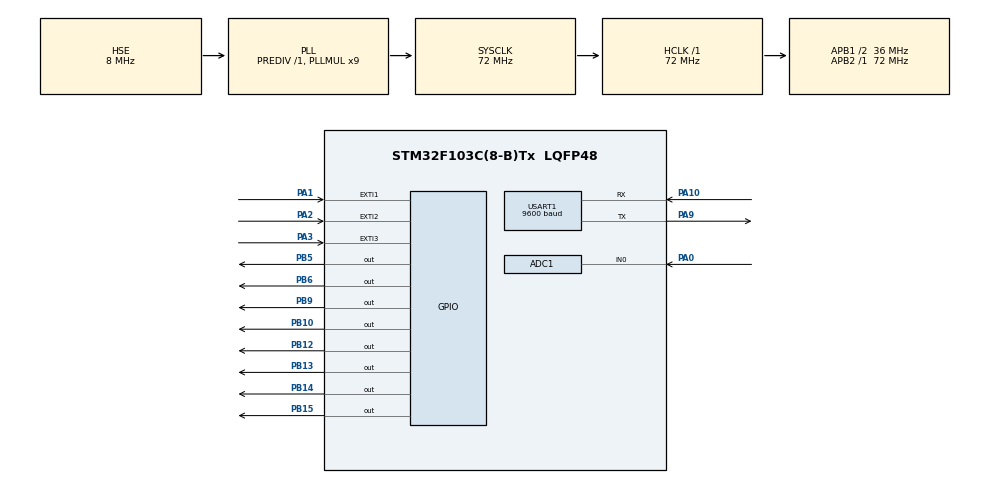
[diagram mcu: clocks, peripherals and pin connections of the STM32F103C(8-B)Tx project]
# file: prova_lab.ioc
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ADC1.Channel-0\#ChannelRegularConversion=ADC_CHANNEL_0
ADC1.NbrOfConversionFlag=1
ADC1.Rank-0\#ChannelRegularConversion=1
ADC1.SamplingTime-0\#ChannelRegularConversion=ADC_SAMPLETIME_1CYCLE_5
ADC1.master=1
Mcu.Family=STM32F1
Mcu.Name=STM32F103C(8-B)Tx
Mcu.Package=LQFP48
NVIC.ADC1_2_IRQn=true\:0\:0\:false\:true\:true\:2\:true\:true
NVIC.EXTI1_IRQn=true\:0\:0\:false\:true\:true\:1\:true\:true
NVIC.EXTI2_IRQn=true\:0\:0\:false\:true\:true\:4\:true\:true
NVIC.EXTI3_IRQn=true\:0\:0\:false\:true\:true\:5\:true\:true
NVIC.PriorityGroup=NVIC_PRIORITYGROUP_4
NVIC.USART1_IRQn=true\:0\:0\:false\:true\:true\:3\:true\:true
PA0-WKUP.Signal=ADCx_IN0
PA1.GPIO_ModeDefaultEXTI=GPIO_MODE_IT_FALLING
PA1.Signal=GPXTI1
PA10.Mode=Asynchronous
PA10.Signal=USART1_RX
PA13.Mode=Serial_Wire
PA13.Signal=SYS_JTMS-SWDIO
PA14.Mode=Serial_Wire
PA14.Signal=SYS_JTCK-SWCLK
PA2.GPIO_ModeDefaultEXTI=GPIO_MODE_IT_FALLING
PA2.Signal=GPXTI2
PA3.GPIO_ModeDefaultEXTI=GPIO_MODE_IT_FALLING
PA3.Signal=GPXTI3
PA9.Mode=Asynchronous
PA9.Signal=USART1_TX
PB10.Signal=GPIO_Output
PB12.Signal=GPIO_Output
PB13.Signal=GPIO_Output
PB14.Signal=GPIO_Output
PB15.Signal=GPIO_Output
PB5.Signal=GPIO_Output
PB6.Signal=GPIO_Output
PB9.Signal=GPIO_Output
PD0-OSC_IN.Mode=HSE-External-Oscillator
PD0-OSC_IN.Signal=RCC_OSC_IN
PD1-OSC_OUT.Mode=HSE-External-Oscillator
PD1-OSC_OUT.Signal=RCC_OSC_OUT
ProjectManager.HeapSize=0x200
ProjectManager.StackSize=0x400
ProjectManager.TargetToolchain=TrueSTUDIO
RCC.ADCPresc=RCC_ADCPCLK2_DIV6
RCC.AHBFreq_Value=72000000
RCC.APB1CLKDivider=RCC_HCLK_DIV2
RCC.APB1Freq_Value=36000000
RCC.APB1TimFreq_Value=72000000
RCC.APB2Freq_Value=72000000
RCC.APB2TimFreq_Value=72000000
RCC.HCLKFreq_Value=72000000
RCC.PLLMUL=RCC_PLL_MUL9
RCC.PLLSourceVirtual=RCC_PLLSOURCE_HSE
RCC.SYSCLKFreq_VALUE=72000000
RCC.SYSCLKSource=RCC_SYSCLKSOURCE_PLLCLK
RCC.USBFreq_Value=72000000
SH.ADCx_IN0.0=ADC1_IN0,IN0
USART1.BaudRate=9600
USART1.VirtualMode=VM_ASYNC
board=custom

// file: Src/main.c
/* USER CODE BEGIN Header */
/**
 ******************************************************************************
 * @file           : main.c
 * @brief          : Main program body
 ******************************************************************************
 * @attention
 *
 * <h2><center>&copy; Copyright (c) 2019 STMicroelectronics.
 * All rights reserved.</center></h2>
 *
 * This software component is licensed by ST under BSD 3-Clause license,
 * the "License"; You may not use this file except in compliance with the
 * License. You may obtain a copy of the License at:
 *                        opensource.org/licenses/BSD-3-Clause
 *
 ******************************************************************************
 */
/* USER CODE END Header */

#include "main.h"

/* USER CODE BEGIN PD */
#define DT_VARRE 5             // inc varredura a cada 5 ms (~200 Hz)
#define DIGITO_APAGADO 0x10    // kte valor p/ apagar um dígito no display
#define DT_RESPOSTA 100        // delay do pisca para os leds, aguardando resposta na UART
#define DT_BUZZER 200          // delay do buzzer
#define DT_LOC 250          	// Intervalo de tempo entre as leituras locais
#define DT_REQ 200				// Intervalo de tempo entre as leituras remotas
#define DT_MIN 1000

#define BYTES_RX 4 // RX tem 4 bytes
#define BYTES_TX 4 // TX tem 4 bytes
#define BYTES_REQ 4 // Bytes de informação
#define BYTES_DADOS 4 //

/* USER CODE END PD */

ADC_HandleTypeDef hadc1;

UART_HandleTypeDef huart1;

/* USER CODE BEGIN PV */
uint8_t buffer_rx[BYTES_RX]; // Armazena os bytes vindos remotamente
uint8_t buffer_tx[BYTES_TX]; // Armazena os bytes da leitura analogica a serem transmitidos
uint8_t buffer_request[BYTES_REQ]; // Envia um frame de requisição
uint8_t buffer_dados[BYTES_DADOS];
/* USER CODE END PV */

void SystemClock_Config(void);
static void MX_GPIO_Init(void);
static void MX_ADC1_Init(void);
static void MX_USART1_UART_Init(void);
static void MX_NVIC_Init(void);
/* USER CODE BEGIN PFP */
void set_modo_oper(int);             // seta modo_oper (no stm32f1xx_it.c)
void set_modo_relogio(int m);
void set_horas(int m);
void set_minutos(int m);
int get_modo_oper(void);             // obtém modo_oper (stm32f1xx_it.c)
int get_modo_relogio(void);
int get_horas(void);
int get_minutos(void);

// funcoes do arquivo prat_05_funcoes.c
void reset_pin_GPIOs(void);         // reset pinos da SPI
void serializar(int ser_data);       // prot fn serializa dados p/ 74HC595
int16_t conv_7_seg(int NumHex);      // prot fn conv valor --> 7-seg

/* USER CODE END PFP */

/* USER CODE BEGIN 0 */
int16_t val_adc = 0;                 // var global: valor lido no ADC
int16_t val_adc_remoto = 0;

// Variáveis de controle da transmissão/recepção...
uint8_t flagTransmit = 0;
uint8_t flagResposta = 0;
uint8_t flagReceived = 0;
uint8_t flagDisparaRx = 0;
uint8_t flagFalha = 0;
uint8_t flagErro = 0;
uint8_t adcRdy = 0;

static enum {
	INIT_ADC, CONVERTE_ADC
} sttADC;

static enum {
	REQ_INIT, VERIF_RECV, CONVERTE_RQ, REQ_ERRO, REQ_DEINIT
} sttReq;

static enum {
	LEDS_IDLE, INIT_LEDS, PISCA_LEDS
} sttLEDS_UART;
/* USER CODE END 0 */

int main(void) {
	/* USER CODE BEGIN 1 */
	// vars e flags de controle do programa no superloop...
	int milADC = 0,                      // ini decimo de seg
			cenADC = 0,                      // ini unidade de seg
			dezADC = 0,                      // ini dezena de seg
			uniADC = 0,                      // ini unidade de minuto
			relogMin = 0,					// ini relogio min
			relogHrs = 0;					// ini relog seg

	int16_t val7seg = 0x00FF,            // inicia 7-seg com 0xF (tudo apagado)
			serial_data = 0x01FF;           // dado a serializar (dig | val7seg)
	uint32_t miliVolt = 0x0,             // val adc convertido p/ miliVolts
			tIN_varre = 0, 				  // registra tempo última varredura
			tIN_leitura = 0, //armazena o instante que a leitura ADC foi disparada
			tIN_leds = 0, // armazena o instante em que os leds começaram a piscar
			tIN_buzzer = 0, //armazena o instante em que o buzzer começou a tocar
			tIN_Relog = 0,		//armazena o instante em que um segundo passou.
			tIN_Leitura_Remota = 0, //armazena o instante em que o REQ da UART foi disparado (Tx)
			tIN_Press_Btn = 0, //armazena o instante em que o botão de reset foi pressionado.
			tIN_Busy_Rx = 0;

	static uint16_t checksum_rx = 0;
	static uint16_t checksum_tx = 0;
	static int modo_op;
	static int modo_relog;
	/* USER CODE END 1 */

	/* MCU Configuration--------------------------------------------------------*/

	/* Reset of all peripherals, Initializes the Flash interface and the Systick. */
	HAL_Init();

	/* Configure the system clock */
	SystemClock_Config();

	/* Initialize all configured peripherals */
	MX_GPIO_Init();
	MX_ADC1_Init();
	MX_USART1_UART_Init();

	/* Initialize interrupts */
	MX_NVIC_Init();
	/* USER CODE BEGIN 2 */
	// Reseta todos os LEDs e o Buzzer
	HAL_GPIO_WritePin(GPIOB, GPIO_PIN_15, GPIO_PIN_SET);
	HAL_GPIO_WritePin(GPIOB, GPIO_PIN_14, GPIO_PIN_SET);
	HAL_GPIO_WritePin(GPIOB, GPIO_PIN_13, GPIO_PIN_SET);
	HAL_GPIO_WritePin(GPIOB, GPIO_PIN_12, GPIO_PIN_SET);
	HAL_GPIO_WritePin(GPIOB, GPIO_PIN_5, GPIO_PIN_SET);

	// inicializa a SPI (pinos 6,9,10 da GPIOB)
	reset_pin_GPIOs();

	//Carrega o buffer_request com o frame de requisição
	buffer_request[0] = 'r';
	buffer_request[1] = 'r';
	buffer_request[2] = 'r';
	buffer_request[3] = 'r';	// Envia o frame p/ servir de referencia

	// Pontapé inicial para ativar a interrupt da UART.
	HAL_UART_Receive_IT(&huart1, buffer_rx, BYTES_RX);

	// var de estado que controla a varredura (qual display é mostrado)
	static enum {
		DIG_UNI, DIG_DEC, DIG_CENS, DIG_MILS
	} sttVARRE = DIG_UNI;

	static enum {
		RESET_IDLE, RESET_WAIT
	} sttRST;

	static enum {
		RX_TIMEOUT_IDLE, RX_TIMEOUT_WAIT, AGUARDA_ERRO_SAIR
	} sttRXTIMEOUT;

	// var de estado dos piscas e do buzzer
	static enum {
		DEINIT_ALARME, //estado referente à desinicialização do alarme
		INIT_BUZZER,   //inicialização do buzzer
		PISCA_BUZZER   //controle do pisca do buzzer
	} sttALARME;

	/* USER CODE END 2 */

	/* Infinite loop */
	while (1) {

		/* USER CODE BEGIN 3 */

		// Pega o modo de operação e o modo de relógio pra usar uma vez no loop
		modo_op = get_modo_oper();
		modo_relog = get_modo_relogio();

		// tarefa #0: Resetar o programa se o botão for pressionado por 3s
		switch (sttRST) {
		case RESET_IDLE:
			if (HAL_GPIO_ReadPin(GPIOA, GPIO_PIN_1) == 0) {
				tIN_Press_Btn = HAL_GetTick();
				sttRST = RESET_WAIT;
			}
			break;
		case RESET_WAIT:
			if (HAL_GPIO_ReadPin(GPIOA, GPIO_PIN_1) == 1) {
				sttRST = RESET_IDLE;
			}
			if (HAL_GetTick() - tIN_Press_Btn >= 3000) {
				NVIC_SystemReset();
			}
		}

		// tarefa #1: Controle simples do relógio
		// Relogio não pára mesmo em modo de setup
		// Em modo simples, apenas incrementa as variáveis
		if (HAL_GetTick() - tIN_Relog >= DT_MIN) {
			tIN_Relog = HAL_GetTick();
			relogMin++;

			if (relogMin == 60) {
				relogHrs++;
				relogMin = 0;
			}

			if (relogHrs == 24) {
				relogHrs = 0;
			}
		}

		// Tarefa #2: Atualização dos valores setados no relógio
		// Quando o modo do relógio chega a 3, pega os valores e zera o modo do relógio
		if (modo_relog == 3) {
			relogMin = get_minutos();
			relogHrs = get_horas();

			set_modo_relogio(0);
		}

		// Tarefa #3.1: Responde requisição da leitura analógica
		// Se o flagTransmit for true, transmite o valor no ADC na UART
		if (flagDisparaRx) {
			// Reseta o flag transmit

			//Transmite o valor ADC para quem pediu
			if (huart1.RxState != HAL_UART_STATE_BUSY_RX) { // Não está busy, mas vai ficar...
				flagDisparaRx = 0;
				HAL_UART_Receive_IT(&huart1, buffer_rx, sizeof(buffer_rx));
				tIN_Busy_Rx = HAL_GetTick();
			}
		}

		// Tarefa #3.2: Responde requisição da leitura analógica
		// Se o flagTransmit for true, transmite o valor no ADC na UART
		if (flagTransmit && adcRdy) {
			//Transmite o valor ADC para quem pediu
			if (huart1.gState != HAL_UART_STATE_BUSY_TX) {
				// Reseta o flag transmit e envia o dado
				flagTransmit = 0;
				HAL_UART_Transmit_IT(&huart1, buffer_tx, sizeof(buffer_tx));
			}
		}

		// Tarefa #3.3: Verifica os dados que chegaram na UART
		if (flagResposta) {
			flagResposta = 0;

			checksum_rx = buffer_dados[0] + buffer_dados[1]; //checksum recebido
			// verif. o checksum transmitido
			checksum_tx = (uint16_t) (buffer_dados[2] << 8)
					| (uint16_t) buffer_dados[3];

			if (checksum_rx == checksum_tx) { // Se for igual, valida os dados e coloca no adc
				val_adc_remoto = (buffer_dados[0] << 8) | buffer_dados[1];
				flagReceived = 1;
			} else { // Se não for igual, pede novamente os dados (vai disparar sozinho)
				flagErro = 1;
			}
		}

		// Tarefa #4: Controle do ADC
		switch (sttADC) {
		case INIT_ADC: // dispara por software uma conversão ADC a cada 250ms
			if (HAL_GetTick() - tIN_leitura >= DT_LOC) {
				HAL_ADC_Start_IT(&hadc1); // dispara ADC p/ conversão por IRQ
				tIN_leitura = HAL_GetTick();
			}
		case CONVERTE_ADC:
			// converter o valor lido em decimais p/ display se o modo de operação for 1
			if (modo_op == 1) {
				miliVolt = val_adc * 3300 / 4095;
				uniADC = miliVolt / 1000;
				dezADC = (miliVolt - (uniADC * 1000)) / 100;
				cenADC = (miliVolt - (uniADC * 1000) - (dezADC * 100)) / 10;
				milADC = miliVolt - (uniADC * 1000) - (dezADC * 100)
						- (cenADC * 10);
			}
			sttADC = INIT_ADC; //retorna ao modo de op. 1 para disparar o adc
		}

		// tarefa #5: Se (modo_oper=2) pede o valor analógico na serial
		if (modo_op == 2) {
			// Verifica se deu timeout no Rx
			/*switch (sttRXTIMEOUT) {
			case RX_TIMEOUT_IDLE: // Aguarda o strobe do Rx e renova
				if (HAL_GetTick() - tIN_Busy_Rx >= 5 * DT_REQ) { // Dispara o erro
					sttReq = REQ_ERRO;
					sttRXTIMEOUT = AGUARDA_ERRO_SAIR;
				}
				break;
			case AGUARDA_ERRO_SAIR:
				if (HAL_GetTick() - tIN_Busy_Rx < 5 * DT_REQ) { // Aguarda o erro sair
					sttReq = REQ_INIT;
					sttRXTIMEOUT = RX_TIMEOUT_IDLE;
				}
				break;
			}*/

			switch (sttReq) { // Requisita o t_req uma vez a cada 200ms
			case REQ_INIT:
				if (HAL_GetTick() - tIN_Leitura_Remota >= DT_REQ) {
					// Envia requisição p/ UART se tiver livre
					if (huart1.gState != HAL_UART_STATE_BUSY_TX) {
						tIN_Leitura_Remota = HAL_GetTick();
						HAL_UART_Transmit_IT(&huart1, buffer_request,
								sizeof(buffer_request));
						// Inicializa os LEDs de indicação p/ avisar que está aguardando
						//sttLEDS_UART = INIT_LEDS;

						// Para para o passo de verificação da comunicação
						sttReq = VERIF_RECV;
					}
				}
				break;
			case VERIF_RECV:
				// Se recebeu, passa para o próximo passo...
				if (flagReceived) {
					flagReceived = 0;
					sttReq = CONVERTE_RQ;
					sttLEDS_UART = LEDS_IDLE;
					flagFalha = 0;
				}

				if (flagErro) { // Se deu erro no checksum, pede de novo o pacote
					flagErro = 0;
					sttReq = REQ_INIT;
					//sttLEDS_UART = LEDS_IDLE;
					//flagFalha = 0;
				}
				// Verifica continuamente se houve timeout
				if ((HAL_GetTick() - tIN_Leitura_Remota) > 5 * DT_REQ) {
					sttReq = REQ_ERRO;
				}
				break;
			case CONVERTE_RQ:
				// converter o valor lido em decimais p/ display
				//val_adc_remoto = buffer_rx[1] * buffer_rx[0];

				miliVolt = val_adc_remoto * 3300 / 4095;
				uniADC = miliVolt / 1000;
				dezADC = (miliVolt - (uniADC * 1000)) / 100;
				cenADC = (miliVolt - (uniADC * 1000) - (dezADC * 100)) / 10;
				milADC = miliVolt - (uniADC * 1000) - (dezADC * 100)
						- (cenADC * 10);

				sttReq = REQ_INIT; //retorna ao modo de op. 1 para disparar o adc

				break;
			case REQ_ERRO:
				// Tratar o erro... (pisca os LEDs e toca o buzzer)
				flagFalha = 1;
				sttALARME = INIT_BUZZER;
				sttLEDS_UART = INIT_LEDS;
				// Volta para o req init até alguém enviar um pacote de requisição válido
				sttReq = REQ_INIT;

				break;
			case REQ_DEINIT:
				break;
			}
		}

		// tarefa #6: qdo milis() > DELAY_VARRE ms, desde a última mudança
		// Imprime o valor analógico no display de 7 segmentos. (local ou remoto), sem erro
		if (modo_op > 0 && modo_relog == 0
				&& (HAL_GetTick() - tIN_varre) > DT_VARRE && !flagFalha)// se ++0,1s atualiza o display
				{
			tIN_varre = HAL_GetTick(); // salva tIN p/ prox tempo varredura
			switch (sttVARRE) // teste e escolha de qual DIG vai varrer
			{
			case DIG_MILS: {
				sttVARRE = DIG_CENS;           // ajusta p/ prox digito
				serial_data = 0x0008;           // display #1
				val7seg = conv_7_seg(milADC);
				break;
			}
			case DIG_CENS: {
				sttVARRE = DIG_DEC;            // ajusta p/ prox digito
				serial_data = 0x0004;            // display #2
				if (cenADC > 0 || dezADC > 0 || uniADC > 0) {
					val7seg = conv_7_seg(cenADC);
				} else {
					val7seg = conv_7_seg(DIGITO_APAGADO);
				}
				break;
			}
			case DIG_DEC: {
				sttVARRE = DIG_UNI;            // ajusta p/ prox digito
				serial_data = 0x0002;            // display #3
				if (dezADC > 0 || uniADC > 0) {
					val7seg = conv_7_seg(dezADC);
				} else {
					val7seg = conv_7_seg(DIGITO_APAGADO);
				}
				break;
			}
			case DIG_UNI: {
				sttVARRE = DIG_MILS;           // ajusta p/ prox digito
				serial_data = 0x0001;           // display #4
				if (uniADC > 0) {
					val7seg = conv_7_seg(uniADC);
					val7seg &= 0x7FFF;           // liga o ponto decimal
				} else {
					val7seg = conv_7_seg(DIGITO_APAGADO);
				}
				break;
			}
			}  // fim case
			tIN_varre = HAL_GetTick(); // tmp atual em que fez essa varredura
			serial_data |= val7seg; // OR com val7seg = dado a serializar
			serializar(serial_data); // serializa dado p/74HC595 (shift reg)
		}  // -- fim da tarefa #6

		// tarefa #6.5: qdo milis() > DELAY_VARRE ms, desde a última mudança
		// Imprime o valor analógico no display de 7 segmentos. (local ou remoto), COM ERRO
		if (modo_op > 0 && modo_relog == 0
				&& (HAL_GetTick() - tIN_varre) > DT_VARRE && flagFalha)	// se ++0,1s atualiza o display
				{
			tIN_varre = HAL_GetTick(); // salva tIN p/ prox tempo varredura
			switch (sttVARRE) // teste e escolha de qual DIG vai varrer
			{
			case DIG_MILS: {
				sttVARRE = DIG_CENS;           // ajusta p/ prox digito
				serial_data = 0x0008;           // display #1
				val7seg = conv_7_seg('o');
				break;
			}
			case DIG_CENS: {
				sttVARRE = DIG_DEC;            // ajusta p/ prox digito
				serial_data = 0x0004;            // display #2
				val7seg = conv_7_seg('r');
				break;
			}
			case DIG_DEC: {
				sttVARRE = DIG_UNI;            // ajusta p/ prox digito
				serial_data = 0x0002;            // display #3
				val7seg = conv_7_seg('r');
				break;
			}
			case DIG_UNI: {
				sttVARRE = DIG_MILS;           // ajusta p/ prox digito
				serial_data = 0x0001;           // display #4
				val7seg = conv_7_seg('E');
				break;
			}
			}  // fim case
			tIN_varre = HAL_GetTick(); // tmp atual em que fez essa varredura
			serial_data |= val7seg; // OR com val7seg = dado a serializar
			serializar(serial_data); // serializa dado p/74HC595 (shift reg)
		}  // -- fim da tarefa #6

		//tarefa #7: Atualiza a mostragem do relógio. Modo de operação do relógio 0
		// Obs: DIG_MILS -> 4º
		if (modo_op
				== 0&& modo_relog == 0 && (HAL_GetTick() - tIN_varre) > DT_VARRE) // se ++0,1s atualiza o display
				{
			tIN_varre = HAL_GetTick(); // salva tIN p/ prox tempo varredura
			switch (sttVARRE)  // teste e escolha de qual DIG vai varrer
			{
			case DIG_MILS: {
				sttVARRE = DIG_CENS;           // ajusta p/ prox digito
				serial_data = 0x0008;          // display #1
				val7seg = conv_7_seg(relogMin % 10);
				break;
			}
			case DIG_CENS: {
				sttVARRE = DIG_DEC;            // ajusta p/ prox digito
				serial_data = 0x0004;         // display #2
				val7seg = conv_7_seg(relogMin / 10);
				break;
			}
			case DIG_DEC: {
				sttVARRE = DIG_UNI;            // ajusta p/ prox digito
				serial_data = 0x0002;          // display #3
				val7seg = conv_7_seg(relogHrs % 10);
				val7seg &= 0x7FFF;           // liga o ponto decimal
				break;
			}
			case DIG_UNI: {
				sttVARRE = DIG_MILS;           // ajusta p/ prox digito
				serial_data = 0x0001;          // display #4
				val7seg = conv_7_seg(relogHrs / 10);
				break;
			}
			}  // fim case
			tIN_varre = HAL_GetTick(); // tmp atual em que fez essa varredura
			serial_data |= val7seg; // OR com val7seg = dado a serializar
			serializar(serial_data); // serializa dado p/74HC595 (shift reg)
		}  // -- fim da tarefa #7

		//tarefa #8: Atualiza a mostragem do relógio. Modo de operação do relógio 1
		// Mostra apenas os dígitos das horas
		// Obs: DIG_MILS -> 4º Digito
		if (modo_op
				== 0&& modo_relog == 1 && (HAL_GetTick() - tIN_varre) > DT_VARRE) // se ++0,1s atualiza o display
				{
			tIN_varre = HAL_GetTick(); // salva tIN p/ prox tempo varredura
			switch (sttVARRE)  // teste e escolha de qual DIG vai varrer
			{
			case DIG_MILS: {
				sttVARRE = DIG_CENS;           // ajusta p/ prox digito
				serial_data = 0x0008;          // display #1
				val7seg = conv_7_seg(DIGITO_APAGADO);
				break;
			}
			case DIG_CENS: {
				sttVARRE = DIG_DEC;            // ajusta p/ prox digito
				serial_data = 0x0004;         // display #2
				val7seg = conv_7_seg(DIGITO_APAGADO);
				break;
			}
			case DIG_DEC: {
				sttVARRE = DIG_UNI;            // ajusta p/ prox digito
				serial_data = 0x0002;          // display #3
				val7seg = conv_7_seg(get_horas() % 10);
				val7seg &= 0x7FFF;           // liga o ponto decimal
				break;
			}
			case DIG_UNI: {
				sttVARRE = DIG_MILS;           // ajusta p/ prox digito
				serial_data = 0x0001;          // display #4
				val7seg = conv_7_seg(get_horas() / 10);
				break;
			}
			}  // fim case
			tIN_varre = HAL_GetTick(); // tmp atual em que fez essa varredura
			serial_data |= val7seg; // OR com val7seg = dado a serializar
			serializar(serial_data); // serializa dado p/74HC595 (shift reg)
		}  // -- fim da tarefa #8

		//tarefa #9: Atualiza a mostragem do relógio. Modo de operação do relógio 2
		// Mostra todos os dígitos
		// Obs: DIG_MILS -> 4º Digito
		if (modo_op
				== 0&& modo_relog == 2 && (HAL_GetTick() - tIN_varre) > DT_VARRE) // se ++0,1s atualiza o display
				{
			tIN_varre = HAL_GetTick(); // salva tIN p/ prox tempo varredura
			switch (sttVARRE)  // teste e escolha de qual DIG vai varrer
			{
			case DIG_MILS: {
				sttVARRE = DIG_CENS;           // ajusta p/ prox digito
				serial_data = 0x0008;          // display #1
				val7seg = conv_7_seg(get_minutos() % 10);
				break;
			}
			case DIG_CENS: {
				sttVARRE = DIG_DEC;            // ajusta p/ prox digito
				serial_data = 0x0004;         // display #2
				val7seg = conv_7_seg(get_minutos() / 10);
				break;
			}
			case DIG_DEC: {
				sttVARRE = DIG_UNI;            // ajusta p/ prox digito
				serial_data = 0x0002;          // display #3
				val7seg = conv_7_seg(get_horas() % 10);
				val7seg &= 0x7FFF;           // liga o ponto decimal
				break;
			}
			case DIG_UNI: {
				sttVARRE = DIG_MILS;           // ajusta p/ prox digito
				serial_data = 0x0001;          // display #4
				val7seg = conv_7_seg(get_horas() / 10);
				break;
			}
			}  // fim case
			tIN_varre = HAL_GetTick(); // tmp atual em que fez essa varredura
			serial_data |= val7seg; // OR com val7seg = dado a serializar
			serializar(serial_data); // serializa dado p/74HC595 (shift reg)
		}  // -- fim da tarefa #9

		//tarefa #10: atualiza a situação dos LEDs de acordo com o modo de operação
		if (modo_op == 0 && modo_relog == 0) {
			HAL_GPIO_WritePin(GPIOB, GPIO_PIN_15, GPIO_PIN_SET);
			HAL_GPIO_WritePin(GPIOB, GPIO_PIN_14, GPIO_PIN_SET);
			HAL_GPIO_WritePin(GPIOB, GPIO_PIN_13, GPIO_PIN_SET);
			HAL_GPIO_WritePin(GPIOB, GPIO_PIN_12, GPIO_PIN_SET);
		} else if (modo_op == 1) { // Modo de operação leitura ADC LOCAL
			HAL_GPIO_WritePin(GPIOB, GPIO_PIN_15, GPIO_PIN_RESET);
			HAL_GPIO_WritePin(GPIOB, GPIO_PIN_14, GPIO_PIN_SET);
			HAL_GPIO_WritePin(GPIOB, GPIO_PIN_13, GPIO_PIN_SET);
			HAL_GPIO_WritePin(GPIOB, GPIO_PIN_12, GPIO_PIN_SET);
		} else if (modo_op == 2) {
			switch (sttLEDS_UART) {
			case LEDS_IDLE:
				HAL_GPIO_WritePin(GPIOB, GPIO_PIN_15, GPIO_PIN_SET);
				HAL_GPIO_WritePin(GPIOB, GPIO_PIN_14, GPIO_PIN_RESET);
				HAL_GPIO_WritePin(GPIOB, GPIO_PIN_13, GPIO_PIN_SET);
				HAL_GPIO_WritePin(GPIOB, GPIO_PIN_12, GPIO_PIN_SET);
				break;
			case INIT_LEDS:
				//
				// Garante que todos estão desligados
				HAL_GPIO_WritePin(GPIOB, GPIO_PIN_15, GPIO_PIN_SET);
				HAL_GPIO_WritePin(GPIOB, GPIO_PIN_14, GPIO_PIN_SET);
				HAL_GPIO_WritePin(GPIOB, GPIO_PIN_13, GPIO_PIN_SET);
				HAL_GPIO_WritePin(GPIOB, GPIO_PIN_12, GPIO_PIN_SET);
				sttLEDS_UART = PISCA_LEDS;
				break;
			case PISCA_LEDS:
				// Garante que todos estão desligados
				if (HAL_GetTick() - tIN_leds >= DT_RESPOSTA) {
					tIN_leds = HAL_GetTick();
					HAL_GPIO_TogglePin(GPIOB, GPIO_PIN_15);
					HAL_GPIO_TogglePin(GPIOB, GPIO_PIN_14);
					HAL_GPIO_TogglePin(GPIOB, GPIO_PIN_13);
					HAL_GPIO_TogglePin(GPIOB, GPIO_PIN_12);
				}
				break;

			}
		} else if (modo_relog == 1) {
			HAL_GPIO_WritePin(GPIOB, GPIO_PIN_15, GPIO_PIN_SET);
			HAL_GPIO_WritePin(GPIOB, GPIO_PIN_14, GPIO_PIN_SET);
			HAL_GPIO_WritePin(GPIOB, GPIO_PIN_13, GPIO_PIN_RESET);
			HAL_GPIO_WritePin(GPIOB, GPIO_PIN_12, GPIO_PIN_SET);
		} else if (modo_relog == 2) {
			HAL_GPIO_WritePin(GPIOB, GPIO_PIN_15, GPIO_PIN_SET);
			HAL_GPIO_WritePin(GPIOB, GPIO_PIN_14, GPIO_PIN_SET);
			HAL_GPIO_WritePin(GPIOB, GPIO_PIN_13, GPIO_PIN_SET);
			HAL_GPIO_WritePin(GPIOB, GPIO_PIN_12, GPIO_PIN_RESET);
		}

		switch (sttALARME) {
		case DEINIT_ALARME: //Desliga o buzzer
			HAL_GPIO_WritePin(GPIOB, GPIO_PIN_5, GPIO_PIN_SET);
			break;

		case INIT_BUZZER:
			//Armazena o instante em que o buzzer foi inicializado
			tIN_buzzer = HAL_GetTick();

			//Liga o buzzer
			HAL_GPIO_WritePin(GPIOB, GPIO_PIN_5, GPIO_PIN_RESET);

			//Desliga os leds
			sttALARME = PISCA_BUZZER;
			break;

		case PISCA_BUZZER:
			// Aguarda o tempo do buzzer para desligá-lo e retornar ao início
			if (HAL_GetTick() - tIN_buzzer >= DT_BUZZER) {
				HAL_GPIO_WritePin(GPIOB, GPIO_PIN_5, GPIO_PIN_SET);
			}

			if (modo_op < 2) { // Se o modo
				sttALARME = DEINIT_ALARME;
			}
			break;
		}

	}    // -- fim do loop infinito

	/* USER CODE END 3 */
}

void SystemClock_Config(void) {
	RCC_OscInitTypeDef RCC_OscInitStruct = { 0 };
	RCC_ClkInitTypeDef RCC_ClkInitStruct = { 0 };
	RCC_PeriphCLKInitTypeDef PeriphClkInit = { 0 };

	/** Initializes the CPU, AHB and APB busses clocks
	 */
	RCC_OscInitStruct.OscillatorType = RCC_OSCILLATORTYPE_HSE;
	RCC_OscInitStruct.HSEState = RCC_HSE_ON;
	RCC_OscInitStruct.HSEPredivValue = RCC_HSE_PREDIV_DIV1;
	RCC_OscInitStruct.HSIState = RCC_HSI_ON;
	RCC_OscInitStruct.PLL.PLLState = RCC_PLL_ON;
	RCC_OscInitStruct.PLL.PLLSource = RCC_PLLSOURCE_HSE;
	RCC_OscInitStruct.PLL.PLLMUL = RCC_PLL_MUL9;
	if (HAL_RCC_OscConfig(&RCC_OscInitStruct) != HAL_OK) {
		Error_Handler();
	}
	/** Initializes the CPU, AHB and APB busses clocks
	 */
	RCC_ClkInitStruct.ClockType = RCC_CLOCKTYPE_HCLK | RCC_CLOCKTYPE_SYSCLK
			| RCC_CLOCKTYPE_PCLK1 | RCC_CLOCKTYPE_PCLK2;
	RCC_ClkInitStruct.SYSCLKSource = RCC_SYSCLKSOURCE_PLLCLK;
	RCC_ClkInitStruct.AHBCLKDivider = RCC_SYSCLK_DIV1;
	RCC_ClkInitStruct.APB1CLKDivider = RCC_HCLK_DIV2;
	RCC_ClkInitStruct.APB2CLKDivider = RCC_HCLK_DIV1;

	if (HAL_RCC_ClockConfig(&RCC_ClkInitStruct, FLASH_LATENCY_2) != HAL_OK) {
		Error_Handler();
	}
	PeriphClkInit.PeriphClockSelection = RCC_PERIPHCLK_ADC;
	PeriphClkInit.AdcClockSelection = RCC_ADCPCLK2_DIV6;
	if (HAL_RCCEx_PeriphCLKConfig(&PeriphClkInit) != HAL_OK) {
		Error_Handler();
	}
}

/**
 * @brief NVIC Configuration.
 * @retval None
 */
static void MX_NVIC_Init(void) {
	/* EXTI1_IRQn interrupt configuration */
	HAL_NVIC_SetPriority(EXTI1_IRQn, 0, 0);
	HAL_NVIC_EnableIRQ(EXTI1_IRQn);
	/* ADC1_2_IRQn interrupt configuration */
	HAL_NVIC_SetPriority(ADC1_2_IRQn, 0, 0);
	HAL_NVIC_EnableIRQ(ADC1_2_IRQn);
	/* USART1_IRQn interrupt configuration */
	HAL_NVIC_SetPriority(USART1_IRQn, 0, 0);
	HAL_NVIC_EnableIRQ(USART1_IRQn);
	/* EXTI2_IRQn interrupt configuration */
	HAL_NVIC_SetPriority(EXTI2_IRQn, 0, 0);
	HAL_NVIC_EnableIRQ(EXTI2_IRQn);
	/* EXTI3_IRQn interrupt configuration */
	HAL_NVIC_SetPriority(EXTI3_IRQn, 0, 0);
	HAL_NVIC_EnableIRQ(EXTI3_IRQn);
}

static void MX_ADC1_Init(void) {

	ADC_ChannelConfTypeDef sConfig = { 0 };

	/** Common config
	 */
	hadc1.Instance = ADC1;
	hadc1.Init.ScanConvMode = ADC_SCAN_DISABLE;
	hadc1.Init.ContinuousConvMode = DISABLE;
	hadc1.Init.DiscontinuousConvMode = DISABLE;
	hadc1.Init.ExternalTrigConv = ADC_SOFTWARE_START;
	hadc1.Init.DataAlign = ADC_DATAALIGN_RIGHT;
	hadc1.Init.NbrOfConversion = 1;
	if (HAL_ADC_Init(&hadc1) != HAL_OK) {
		Error_Handler();
	}
	/** Configure Regular Channel
	 */
	sConfig.Channel = ADC_CHANNEL_0;
	sConfig.Rank = ADC_REGULAR_RANK_1;
	sConfig.SamplingTime = ADC_SAMPLETIME_1CYCLE_5;
	if (HAL_ADC_ConfigChannel(&hadc1, &sConfig) != HAL_OK) {
		Error_Handler();
	}

}

static void MX_USART1_UART_Init(void) {

	huart1.Instance = USART1;
	huart1.Init.BaudRate = 9600;
	huart1.Init.WordLength = UART_WORDLENGTH_8B;
	huart1.Init.StopBits = UART_STOPBITS_1;
	huart1.Init.Parity = UART_PARITY_NONE;
	huart1.Init.Mode = UART_MODE_TX_RX;
	huart1.Init.HwFlowCtl = UART_HWCONTROL_NONE;
	huart1.Init.OverSampling = UART_OVERSAMPLING_16;
	if (HAL_UART_Init(&huart1) != HAL_OK) {
		Error_Handler();
	}

}

static void MX_GPIO_Init(void) {
	GPIO_InitTypeDef GPIO_InitStruct = { 0 };

	/* GPIO Ports Clock Enable */
	__HAL_RCC_GPIOD_CLK_ENABLE()
	;
	__HAL_RCC_GPIOA_CLK_ENABLE()
	;
	__HAL_RCC_GPIOB_CLK_ENABLE()
	;

	/*Configure GPIO pin Output Level */
	HAL_GPIO_WritePin(GPIOB,
			GPIO_PIN_10 | GPIO_PIN_12 | GPIO_PIN_13 | GPIO_PIN_14 | GPIO_PIN_15
					| GPIO_PIN_5 | GPIO_PIN_6 | GPIO_PIN_9, GPIO_PIN_RESET);

	/*Configure GPIO pins : PA1 PA2 PA3 */
	GPIO_InitStruct.Pin = GPIO_PIN_1 | GPIO_PIN_2 | GPIO_PIN_3;
	GPIO_InitStruct.Mode = GPIO_MODE_IT_FALLING;
	GPIO_InitStruct.Pull = GPIO_NOPULL;
	HAL_GPIO_Init(GPIOA, &GPIO_InitStruct);

	/*Configure GPIO pins : PB10 PB12 PB13 PB14
	 PB15 PB5 PB6 PB9 */
	GPIO_InitStruct.Pin = GPIO_PIN_10 | GPIO_PIN_12 | GPIO_PIN_13 | GPIO_PIN_14
			| GPIO_PIN_15 | GPIO_PIN_5 | GPIO_PIN_6 | GPIO_PIN_9;
	GPIO_InitStruct.Mode = GPIO_MODE_OUTPUT_PP;
	GPIO_InitStruct.Pull = GPIO_NOPULL;
	GPIO_InitStruct.Speed = GPIO_SPEED_FREQ_LOW;
	HAL_GPIO_Init(GPIOB, &GPIO_InitStruct);

}

/* USER CODE BEGIN 4 */
// fn que atende ao callback da ISR do conversor ADC1
void HAL_ADC_ConvCpltCallback(ADC_HandleTypeDef* hadc) {
	if (hadc->Instance == ADC1) {
		adcRdy = 0;
		static uint16_t checksum = 0;

		val_adc = HAL_ADC_GetValue(&hadc1); // Armazena o valor adc LOCAL

		if (get_modo_oper() == 1) {
			sttADC = CONVERTE_ADC; // alterou valor lido
		}

		// Copia o adc p/ o buffer_tx
		__disable_irq();
		buffer_tx[0] = (val_adc & 0x0F00) >> 8;
		buffer_tx[1] = val_adc & 0x00FF;

		// Calcula o checksum_tx (falta implementar)
		checksum = (uint16_t) (buffer_tx[0] + buffer_tx[1]);

		// Coloca o checksum_tx no buffer p transmitir
		buffer_tx[2] = (uint8_t) (checksum >> 8);
		buffer_tx[3] = (uint8_t) 0xFF & checksum;
		__enable_irq();

		// Dispara outra leitura
		//HAL_ADC_Start_IT(&hadc1);
		adcRdy = 1; // Esse aqui dispara a outra...
	}
}

void HAL_UART_RxCpltCallback(UART_HandleTypeDef *huart) {
	static uint8_t i = 0;

// Creio que seja necessário fazer um __noInterrupts() pra tornar
// a interrupção thread safe...
	if (huart->Instance == USART1) {
		// Verifica o que tiver que verificar... [CRC, etc..]
		if (buffer_rx[0] == 'r' && buffer_rx[1] == 'r' && buffer_rx[2] == 'r'
				&& buffer_rx[3] == 'r') {
			// Atualiza as flags que precisar atualizar
			flagTransmit = 1;
		} else {
			// se for uma resposta, copia o buffer e habilita o flag
			__disable_irq();
			for (i = 0; i < sizeof(buffer_rx); i++) {
				buffer_dados[i] = buffer_rx[i];
			}
			__enable_irq();
			flagResposta = 1;
		}

		// Dispara outra recepção
		//__HAL_UART_FLUSH_DRREGISTER(&huart1);

		//HAL_UART_Receive_IT(&huart1, buffer_rx, sizeof(buffer_rx));
		flagDisparaRx = 1;
	}
// Desfazer o __nointerrupts()
}

void HAL_UART_TxCpltCallback(UART_HandleTypeDef *huart) {
}
/* USER CODE END 4 */

void Error_Handler(void) {
}

/************************ (C) COPYRIGHT STMicroelectronics *****END OF FILE****/
